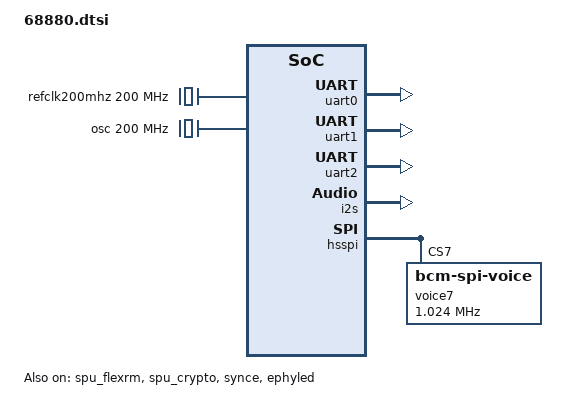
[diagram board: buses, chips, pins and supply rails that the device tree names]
/dts-v1/;

#include "linux_autoconf.h"

#include <dt-bindings/interrupt-controller/arm-gic.h>
#include <dt-bindings/interrupt-controller/irq.h>

#include "../../boot_rsvdmem.dtsi"
#include "../../bcm_thermal.dtsi"

/ {
	#define MODEL "Broadcom BCM968880"
	#define COMPATIBLE "brcm,bcm968880"
	
	/* memory reservations */
    #include "../../bcm_rsvdmem.dtsi"

	aliases {
		serial0 = &uart0;
        serial1 = &uart1;
        serial2 = &uart2;
		spi1        = &hsspi; /* 0 = legacy, 1 = high speed */
		hs_serial0	= &hs_uart0;
	};

	chosen {
		stdout-path = "serial0:115200n8";
		bootargs = "coherent_pool=4M cpuidle_sysfs_switch console=ttyS0,115200  pci=pcie_bus_safe";
	};

	/* memc */
    memory_controller {
        #include "../../ip/memc.dtsi"
    };
    
    /* wan type auto detect */
    wantype_detect {
        #define GPON_GENERAL_CONFIG_ADDR    0x0 0x80129000
        #define GPON_GENERAL_CONFIG_SIZE    0x0 0x10
        #define EPON_TOP_ADDR               0x0 0x80100000
        #define EPON_TOP_SIZE               0x0 0x1C
        #define EPON_LIF_ADDR               0x0 0x80101800
        #define EPON_LIF_SIZE               0x0 0x110
        #define EPON_XPCSR_ADDR             0x0 0x80103000
        #define EPON_XPCSR_SIZE             0x0 0x124
        #define NGPON_RXGEN_ADDR            0x0 0x8015C000
        #define NGPON_RXGEN_SIZE            0x0 0x80
        #include "../../ip/bcm_wantype_detect.dtsi"
    };

    dying_gasp: dying_gasp {
	#define DG_PERIPH_REG_OFFSET	0x0 0xFF85A004
	#define DG_PERIPH_REG_SIZE	0x0 0x4
	#define DG_UART_DR_OFFSET	0x0 0x8421C000
	#define DG_UART_DR_SIZE		0x0 0x4
	#include "../../ip/bcm_dgasp_periph.dtsi"
	interrupts = <GIC_SPI 28 IRQ_TYPE_LEVEL_HIGH>;
    };

    cpufreq: cpufreq {
        #define OP_MODE "dvfs"
        #include "../../ip/bcm_cpufreq.dtsi"
    };

    /* pcie common */
    pcie: pcie {
        compatible = "brcm,bcm-pcie";
        device_type = "cpci";
        brcm,pllclkid = <0x3210>;
    };

    /* pcie core 0 */
    pcie0: pcie@0 {
        #define PCIE_ID         0
        #define PCIE_SPI        79
        #define PCIE_ADDR       0x80080000
        #define PCIE_SIZE       0x0000A000
        #define PCIE_RANGE_ADDR 0xC0000000
        #define PCIE_RANGE_SIZE 0x10000000
        #include "../../ip/bcm_pcie_core.dtsi"
    };

    /* pcie core 1 */
    pcie1: pcie@1 {
        #define PCIE_ID         1
        #define PCIE_SPI        80
        #define PCIE_ADDR       0x80090000
        #define PCIE_SIZE       0x0000A000
        #define PCIE_RANGE_ADDR 0xD0000000
        #define PCIE_RANGE_SIZE 0x10000000
        #include "../../ip/bcm_pcie_core.dtsi"
    };

    otp: otp {
        compatible = "brcm,otp";
    };

    /* pcie core 2 */
    pcie2: pcie@2 {
        #define PCIE_ID         2
        #define PCIE_SPI        81
        #define PCIE_ADDR       0x800A0000
        #define PCIE_SIZE       0x0000A000
        #define PCIE_RANGE_ADDR 0xE0000000
        #define PCIE_RANGE_SIZE 0x10000000
        #include "../../ip/bcm_pcie_core.dtsi"
    };

    /* pcie core 4 */
    pcie3: pcie@3 {
        #define PCIE_ID         3
        #define PCIE_SPI        82
        #define PCIE_ADDR       0x800B0000
        #define PCIE_SIZE       0x0000B000
        #define PCIE_RANGE_ADDR 0xA0000000
        #define PCIE_RANGE_SIZE 0x20000000
        #include "../../ip/bcm_pcie_core.dtsi"
    };

    /* boot state */
    boot_state: boot_state {
        #define RESET_REASON_OFFSET                 0x0 0xFF802628
        #define RESET_REASON_SIZE                   0x0 0x4
        #define RESET_STATUS_OFFSET                 0x0 0x842100C0
        #define RESET_STATUS_SIZE                   0x0 0x4
        #include "../../ip/bcm_boot_state_v2.dtsi"
    };

	/* clocks */
	#define PERIPH_CLK		200000000 
	#define HS_SPI_PLL_CLK	200000000 
	#include "../../ip/bcm_clocks.dtsi"

    #define UARTA_SPI       31
    #define UARTA_FUNC      32
    #define UARTB_FUNC      202
    uart_clk: uart_clk {
        compatible = "fixed-clock";
        #clock-cells = <0>;
        clock-frequency = <81000000>;
        u-boot,dm-pre-reloc;
    };

    refclk200mhz: refclk200mhz {
        compatible = "fixed-clock";
        #clock-cells = <0>;
        clock-frequency = <200000000>;
    };

    uart0: serial@8421C000 {
        compatible = "ns16550a";
        reg = <0x0 0x8421C000 0x0 0x20>;
        reg-io-width = <0x4>;
        reg-shift = <0x2>;
        interrupts = <GIC_SPI UARTA_SPI IRQ_TYPE_LEVEL_HIGH>;
        clocks = <&uart_clk>;
        u-boot,dm-pre-reloc;
    };

    uart1: serial@0x84219000{
        compatible = "ns16550a";
        reg = <0x0 0x84219000 0x0 0x20>;
        reg-io-width = <0x4>;
        reg-shift = <0x2>;
        interrupts = <GIC_SPI UARTA_FUNC IRQ_TYPE_LEVEL_HIGH>;
        clocks = <&refclk200mhz>;
        u-boot,dm-pre-reloc;
    };

    uart2: serial@0x84219600{
        compatible = "ns16550a";
        reg = <0x0 0x84219600 0x0 0x20>;
        reg-io-width = <0x4>;
        reg-shift = <0x2>;
        interrupts = <GIC_SPI UARTB_FUNC IRQ_TYPE_LEVEL_HIGH>;
        clocks = <&refclk200mhz>;
        u-boot,dm-pre-reloc;
    };

    /* usb */
    usb_ctrl: usb_ctrl {
        #define USB_CTRL_ADDR   0x0 0x800CF200
        #define USB_CTRL_SIZE   0x0 0x200
        #include "../../ip/bcm_usb_ctrl.dtsi"
    };

    usb0_xhci: usb0_xhci {
        #define USB_ADDR    0x0 0x800C0000
        #define USB_SIZE    0x0 0x4a4
        #define GBL_ADDR    0x0 0x800CC100
        #define GBL_SIZE    0x0 0x548
        #define USB_IRQ     84
        #include "../../ip/bcm_usb_xhci.dtsi"
        xhci-no-companion;
    };

    /* watchdog */
    wdt: watchdog  {
    	compatible = "brcm,bcm3390-wdt";
    	reg = <0x0 0x84213700 0x0 0x40>;
    	interrupts = <GIC_SPI 203 IRQ_TYPE_LEVEL_HIGH>;
    	interrupt-names = "wd_timeout";
    };

    /* watchdog reboot */
    wdt-reboot {
        compatible	= "wdt-reboot";
        wdt			= <&wdt>;
    };

        /* spu */
    #define SPU_DMA_ADDR        0x00000000 0x83800000
    #define SPU_DMA_SIZE        0x00000000 0x400000
    #define SPU_DMA_NUM_CHAN    4
    #define SPU_DMA_NUM_AE      2
    #define SPU_CRYPTO_ADDR     0x00000000 0x83800000
    #define SPU_CRYPTO_SIZE     0x00000000 0x400000
    #define SPU_GMAC_SPI        67
    #include "../../ip/bcm_spu.dtsi"

    gpon_drv {
        compatible = "brcm,gpon-drv";
        reg = <0x0 0x80128000 0x0 0x1c00>;
        interrupts = <GIC_SPI 173  IRQ_TYPE_LEVEL_HIGH>, /* INTERRUPT_WAN_GPON_RX */
                     <GIC_SPI 172  IRQ_TYPE_LEVEL_HIGH>; /* INTERRUPT_WAN_GPON_TX */
        interrupt-names = "gpon_rx", "gpon_tx";
    };

    ngpon_drv {
        compatible = "brcm,ngpon-drv";
        reg = <0x0 0x8015c000 0x0 0x9080>;
        enforce-long-preamble;
        interrupts = <GIC_SPI 161  IRQ_TYPE_LEVEL_HIGH>, /* INTERRUPT_WAN_XGRX */
                     <GIC_SPI 165  IRQ_TYPE_LEVEL_HIGH>, /* INTERRUPT_WAN_XGTX_INTR0 */
                     <GIC_SPI 164  IRQ_TYPE_LEVEL_HIGH>, /* INTERRUPT_WAN_XGTX_INTR1 */
                     <GIC_SPI 163  IRQ_TYPE_LEVEL_HIGH>; /* INTERRUPT_WAN_XGTX_INTR2 */
        interrupt-names = "ngpon_rx", "ngpon_tx0", "ngpon_tx1", "ngpon_tx2";
    };

    wan_serdes {
        compatible = "brcm,pon-drv";
        status = "disabled";
        reg = <0x0 0x80104000 0x0 0x1cc00>;
    };

    synce {
        compatible = "brcm,synce_holdover";
        status = "okay";
        reg = <0x0 0x80104000 0x0 0x1d000>;
    };

    epon_drv {
        compatible = "brcm,epon-drv";
        reg = <0x0 0x80100000 0x0 0x4000>;
    };

    /* xrdp,wan_bbh */
    rdpa_drv {
        compatible = "brcm,rdpa";
        reg = <0x0 0x82000000 0x0 0xE60000>,
              <0x0 0x80170000 0x0 0x12400>;
        interrupts = <GIC_SPI 128 IRQ_TYPE_LEVEL_HIGH>, /* INTERRUPT_XRDP_FPM/INTERRUPT_XRDP_QUEUE_32 */
                     <GIC_SPI 96  IRQ_TYPE_LEVEL_HIGH>, /* INTERRUPT_XRDP_QUEUE_0 */
                     <GIC_SPI 97  IRQ_TYPE_LEVEL_HIGH>, /* INTERRUPT_XRDP_QUEUE_1 */
                     <GIC_SPI 98  IRQ_TYPE_LEVEL_HIGH>, /* INTERRUPT_XRDP_QUEUE_2 */
                     <GIC_SPI 99  IRQ_TYPE_LEVEL_HIGH>, /* INTERRUPT_XRDP_QUEUE_3 */
                     <GIC_SPI 100 IRQ_TYPE_LEVEL_HIGH>, /* INTERRUPT_XRDP_QUEUE_4 */
                     <GIC_SPI 101 IRQ_TYPE_LEVEL_HIGH>, /* INTERRUPT_XRDP_QUEUE_5 */
                     <GIC_SPI 102 IRQ_TYPE_LEVEL_HIGH>, /* INTERRUPT_XRDP_QUEUE_6 */
                     <GIC_SPI 103 IRQ_TYPE_LEVEL_HIGH>, /* INTERRUPT_XRDP_QUEUE_7 */
                     <GIC_SPI 104 IRQ_TYPE_LEVEL_HIGH>, /* INTERRUPT_XRDP_QUEUE_8 */
                     <GIC_SPI 105 IRQ_TYPE_LEVEL_HIGH>, /* INTERRUPT_XRDP_QUEUE_9 */
                     <GIC_SPI 106 IRQ_TYPE_LEVEL_HIGH>, /* INTERRUPT_XRDP_QUEUE_10 */
                     <GIC_SPI 107 IRQ_TYPE_LEVEL_HIGH>, /* INTERRUPT_XRDP_QUEUE_11 */
                     <GIC_SPI 108 IRQ_TYPE_LEVEL_HIGH>, /* INTERRUPT_XRDP_QUEUE_12 */
                     <GIC_SPI 109 IRQ_TYPE_LEVEL_HIGH>, /* INTERRUPT_XRDP_QUEUE_13 */
                     <GIC_SPI 110 IRQ_TYPE_LEVEL_HIGH>, /* INTERRUPT_XRDP_QUEUE_14 */
                     <GIC_SPI 111 IRQ_TYPE_LEVEL_HIGH>, /* INTERRUPT_XRDP_QUEUE_15 */
                     <GIC_SPI 112 IRQ_TYPE_LEVEL_HIGH>, /* INTERRUPT_XRDP_QUEUE_16 */
                     <GIC_SPI 113 IRQ_TYPE_LEVEL_HIGH>, /* INTERRUPT_XRDP_QUEUE_17 */
                     <GIC_SPI 114 IRQ_TYPE_LEVEL_HIGH>, /* INTERRUPT_XRDP_QUEUE_18 */
                     <GIC_SPI 115 IRQ_TYPE_LEVEL_HIGH>, /* INTERRUPT_XRDP_QUEUE_19 */
                     <GIC_SPI 116 IRQ_TYPE_LEVEL_HIGH>, /* INTERRUPT_XRDP_QUEUE_20 */
                     <GIC_SPI 117 IRQ_TYPE_LEVEL_HIGH>, /* INTERRUPT_XRDP_QUEUE_21 */
                     <GIC_SPI 118 IRQ_TYPE_LEVEL_HIGH>, /* INTERRUPT_XRDP_QUEUE_22 */
                     <GIC_SPI 119 IRQ_TYPE_LEVEL_HIGH>, /* INTERRUPT_XRDP_QUEUE_23 */
                     <GIC_SPI 120 IRQ_TYPE_LEVEL_HIGH>, /* INTERRUPT_XRDP_QUEUE_24 */
                     <GIC_SPI 121 IRQ_TYPE_LEVEL_HIGH>, /* INTERRUPT_XRDP_QUEUE_25 */
                     <GIC_SPI 122 IRQ_TYPE_LEVEL_HIGH>, /* INTERRUPT_XRDP_QUEUE_26 */
                     <GIC_SPI 123 IRQ_TYPE_LEVEL_HIGH>, /* INTERRUPT_XRDP_QUEUE_27 */
                     <GIC_SPI 124 IRQ_TYPE_LEVEL_HIGH>, /* INTERRUPT_XRDP_QUEUE_28 */
                     <GIC_SPI 125 IRQ_TYPE_LEVEL_HIGH>, /* INTERRUPT_XRDP_QUEUE_29 */
                     <GIC_SPI 126 IRQ_TYPE_LEVEL_HIGH>, /* INTERRUPT_XRDP_QUEUE_30 */
                     <GIC_SPI 127 IRQ_TYPE_LEVEL_HIGH>; /* INTERRUPT_XRDP_QUEUE_31 */
        interrupt-names = "fpm", "queue0", "queue1", "queue2", "queue3", "queue4", "queue5",
                          "queue6", "queue7", "queue8", "queue9", "queue10", "queue11", 
                          "queue12", "queue13", "queue14", "queue15", "queue16", "queue17",
                          "queue18", "queue19", "queue20", "queue21", "queue22", "queue23",
                          "queue24", "queue25", "queue26", "queue27", "queue28", "queue29",
                          "queue30", "queue31";
    };

    rng: rng {
        #define RNG200_OFFSET			0x0 0x84120450
        #define RNG200_SIZE			0x0 0x28
        #include "../../ip/bcm_rng200.dtsi"
    };

	periph {
		compatible = "simple-bus";
		#address-cells = <2>;
		#size-cells = <2>;
		ranges = <0x0 0x0 0x0 0xff800000 0x0 0x100000>;

		/* UART */
		hs_uart0: hs_serial0 {
			#define UART_OFFSET			0x0 0x10400
			#define UART_SIZE			0x0 0x1E0 
			#define UART_SPI			34  
			#include "../../ip/bcm_hs_uart.dtsi"
		};


		/* i2c */
		i2c0: i2c0 {
			#define I2C_OFFSET			0x0 0x2100
			#define I2C_SIZE			0x0 0x60
			#include "../../ip/bcm_i2c_bus.dtsi"
		};

		i2c1: i2c1 {
			#define I2C_OFFSET			0x0 0x5a800
			#define I2C_SIZE			0x0 0x60
			#include "../../ip/bcm_i2c_bus.dtsi"
		};

		i2s: bcm63xx-i2s {
			compatible		= "brcm,bcm63xx-i2s";
			reg				= <0x0 0x2080 0x0 0x80>;
			interrupts		= <GIC_SPI 44 IRQ_TYPE_LEVEL_HIGH>; 
			clocks			= <&i2sclk>, <&osc>;
			clock-names		= "i2sclk","i2sosc";
		};

		bcm63xx-apm-pcm {
			compatible = "brcm,bcm63xx-apm-pcm";
			reg = <0x0 0x60000 0x0 0x1c60>;
			interrupts = <GIC_SPI 41 IRQ_TYPE_LEVEL_HIGH>;
		};

		/* periph timers */
		timers: timers {
			#define TIMERS_OFFSET		0x0 0x400
			#define TIMERS__SIZE		0x0 0x48
			#define TIMER0_SPI			11
			#define TIMER1_SPI			12
			#define TIMER2_SPI			13
			#define TIMER3_SPI			14
			#define TIMER4_SPI			15
			#define TIMER5_SPI			16
			#include "../../ip/bcm_timer.dtsi"
		};

		pincontroller: pinctrl {
			#define PINCTRL_OFFSET		0x0 0x554
			#define PINCTRL_SIZE		0x0 0xc
			#define PINCTRL_NUM_PINS	107
			#define PINCTRL_NUM_FUNC	7
			#define PINCTRL_GPIO_FUNC	4
			#include "../../ip/bcm_bca_pinctrl.dtsi"
			#include "68880_pinctrl.dtsi"
		};

		/* gpio */
		gpioc: gpioc {
			#define GPIO_DIR_OFFSET		0x0 0x500  
			#define GPIO_DIR_SIZE		0x0 0x20
			#define GPIO_DATA_OFFSET	0x0 0x520
			#define GPIO_DATA_SIZE		0x0 0x20
			#define NUM_OF_GPIOS		98
			#include "../../ip/bcm_bca_gpio.dtsi"
		};

		/* external interrups */
		bca_extintr: bca_extintr0 {
			#define EXTINTR_OFFSET		0x0 0x4
			#define EXTINTR_SIZE		0x0 0x48
			#define INTSET0_OFFSET		0x0 0x100
			#define INTSET0_SIZE		0x0 0x90
			#define INTSET1_OFFSET		0x0 0x200
			#define INTSET1_SIZE		0x0 0x90
			#define MAX_EXT_INTR		8
			#include "../../ip/bcm_bca_extintr.dtsi"
			external_interrupts = <47 48 49 50 51 52 53 54>;
		};

		/* HS SPI */
		hsspi: spi {
			pinctrl-0 = <&a_spim1_group_pins>;
			pinctrl-names = "default";
			#define HS_SPI_OFFSET		0x0 0x1000
			#define HS_SPI_SIZE			0x0 0x600
			#define HS_SPI_MAX_FREQ		50000000
			#define SPIM_CTRL_OFFSET	0x0 0x2610
			#define SPIM_CTRL_SIZE		0x0 0x4
			/* #define HS_SPIM_SPI			36 */
			#include "../../ip/bcm_bca_hsspi.dtsi"

			voice7 {
				pinctrl-0 = <&b_pcm_clk_pin_20 &b_pcm_fs_pin_21 &b_pcm_sdin_pin_18 &b_pcm_sdout_pin_19>;
				pinctrl-names = "default";
				compatible    = "bcm-spi-voice";
				reg = <7>; 
				spi-index     = <7>;
				spi-max-frequency = <1024000>;
			};

		};
        /* Led Controller */
        led_ctrl: led_ctrl {
            #define CLED_GLBL_CTRL_OFFSET           0x0 0x3000
            #define CLED_GLBL_CTRL_SIZE             0x0 0x4
            #define CLED_HW_EN_OFFSET               0x0 0x3004
            #define CLED_HW_EN_SIZE                 0x0 0x4
            #define CLED_SER_SHIFT_OFFSET           0x0 0x3008
            #define CLED_SER_SHIFT_SIZE             0x0 0x4
            #define CLED_HW_POLARITY_OFFSET         0x0 0x300c
            #define CLED_HW_POLARITY_SIZE           0x0 0x4
            #define CLED_SW_SET_OFFSET              0x0 0x3010
            #define CLED_SW_SET_SIZE                0x0 0x4
            #define CLED_SW_POLARITY_OFFSET         0x0 0x3014
            #define CLED_SW_POLARITY_SIZE           0x0 0x4
            #define CLED_CH_ACTIVATE_OFFSET         0x0 0x301c
            #define CLED_CH_ACTIVATE_SIZE           0x0 0x4
            #define CLED_XX_CONFIG_OFFSET           0x0 0x3020
            #define CLED_XX_CONFIG_SIZE             0x0 0x200
            #define CLED_SW_CLEAR_OFFSET            0x0 0x3444
            #define CLED_SW_CLEAR_SIZE              0x0 0x4
            #define CLED_SW_STATUS_OFFSET           0x0 0x3448
            #define CLED_SW_STATUS_SIZE             0x0 0x4
            #define CLED_OUT_MUX_OFFSET             0x0 0x3460
            #define CLED_OUT_MUX_SIZE               0x0 0x20
            #define CLED_SERIAL_POLARITY_OFFSET     0x0 0x3454
            #define CLED_SERIAL_POLARITY_SIZE       0x0 0x4
            #define CLED_PARALLEL_POLARITY_OFFSET   0x0 0x3018
            #define CLED_PARALLEL_POLARITY_SIZE     0x0 0x4
            #define MAX_SUPPORTED_LEDS              64

            #include "../../ip/bcm_cled_v2_ctrl.dtsi"
            #include "68880_leds.dtsi"
        };
	};

    legacy_leds: legacy_leds {
        compatible = "brcm,legacy-led";
    };

    ephyled {
        compatible = "brcm,ephy-led";
        led_reg_max = <16>;
        reg-names = "aggregate_ctrl", "led_reg_0", "led_reg_1", "led_reg_2",\
                    "led_reg_3", "led_reg_4","led_reg_5", "led_reg_6",\
                    "led_reg_7", "led_reg_8", "led_reg_9", "led_reg_10",\
                    "led_reg_11", "led_reg_12", "led_reg_13", "led_reg_14",\
                    "led_reg_15";
        reg = <0 0x837FF1DC 0 0x4>, <0 0x837FF108 0 0xc>, <0 0x837FF114 0 0xc>, <0 0x837FF120 0 0xc>,\
              <0 0x837FF12C 0 0xc>, <0 0x837FF138 0 0xc>, <0 0x837FF144 0 0xc>, <0 0x837FF150 0 0xc>,\
              <0 0x837FF15C 0 0xc>, <0 0x837FF168 0 0xc>, <0 0x837FF174 0 0xc>, <0 0x837FF180 0 0xc>,\
              <0 0x837FF18C 0 0xc>, <0 0x837FF198 0 0xc>, <0 0x837FF1A4 0 0xc>, <0 0x837FF1B0 0 0xc>,\
              <0 0x837FF1BC 0 0xc>;
        status = "okay";
	};
};

#ifdef CONFIG_BCM_PMC_AUX
/ {
    #include "68880_aux.dtsi"
};
#endif

#ifndef CONFIG_BRCM_SMC_BOOT
/ {
    #include "bcm_68880_no_smc_boot.dtsi"
};
#endif

&clocks {
	i2s_clkmclk_syscon: i2s_clkmclk_syscon{
		compatible			= "brcm,i2s-audio-clkmclk-syscon", "syscon";
		reg					= <0x0 0xFF802080 0x0 0x4>;
	};
	osc: oscillator {
		#clock-cells		= <0>;
		compatible			= "fixed-clock";
		clock-frequency		= <200000000>; 
	};

	i2sclk: i2sclk {
		#clock-cells		= <0>;
		compatible			= "brcm,i2s-clock";
		clocks				= <&osc>;
		clk-mclk-syscon		= <&i2s_clkmclk_syscon>;
		clock-output-names	= "i2s_clk";
	};

};

/ {
	 /* arch */
	#define PMU_CORE0_SPI	9
	#define PMU_CORE1_SPI	10
	#define PMU_CORE2_SPI	11
	#define PMU_CORE3_SPI	12

        #include "../../ip/bcm_b55_quad.dtsi"
};

/* networking */
/ {
    xport:xport {
        compatible = "brcm,xport";
        reg = <0x0 0x837f0000 0x0 0xc000>,
              <0x0 0x828b2000 0x0 0x1800>;
        interrupts = <GIC_SPI 71 IRQ_TYPE_LEVEL_HIGH>,
                     <GIC_SPI 72 IRQ_TYPE_LEVEL_HIGH>,
                     <GIC_SPI 73 IRQ_TYPE_LEVEL_HIGH>;
        status = "disabled";
    };

    ethphytop:ethphytop {
        compatible = "brcm,eth-phy-top";
        reg = <0x0 0x837ff000 0x0 0x1000>;
        xphy0-addr = <0x2>;
        xphy1-addr = <0x3>;
        status = "disabled";
    };

    egphy:egphy {
        compatible = "brcm,egphy";
        reg = <0x0 0x837ff010 0x0 0x0c>;
        base-addr = <0x8>;
        status = "disabled";
    };

    unimac:unimac {
        compatible = "brcm,unimac3";
        reg = <0x0 0x828a8000 0x0 0x5000>,
              <0x0 0x828b0000 0x0 0x1400>;
        conf_offset = <0x1000>;
        mib_offset = <0x400>;
        top_offset = <0x400>;
        status = "disabled";
    };

    serdes:serdes {
        compatible = "brcm,serdes1";
        reg = <0x0 0x837ff500 0x0 0x200>;
        status = "disabled";
    };

    mdio:mdio {
        compatible = "brcm,mdio1";
        reg = <0x0 0x837ffd00 0x0 0x10>;
        status = "disabled";
    };

    mpcs:mpcs{
        compatible = "brcm,mpcs";
        reg = <0x0 0x80104000 0x0 0x100
               0x0 0x80100000 0x0 0x10>;
        status = "disabled";
    };

    mdio_bus: mdio_bus {
        compatible = "simple-bus";
        bus-type = "MDIO_V1";
        #address-cells = <1>;
        #size-cells = <0>;

        egphy0:egphy0 {
            compatible = "brcm,bcaphy";
            phy-type = "EGPHY";
            reg = <0x8>;
            status = "disabled";
        };

        egphy1:egphy1 {
            compatible = "brcm,bcaphy";
            phy-type = "EGPHY";
            reg = <0x9>;
            status = "disabled";
        };

        egphy2:egphy2 {
            compatible = "brcm,bcaphy";
            phy-type = "EGPHY";
            reg = <0xa>;
            status = "disabled";
        };

        egphy3:egphy3 {
            compatible = "brcm,bcaphy";
            phy-type = "EGPHY";
            reg = <0xb>;
            status = "disabled";
        };

        xphy0:xphy0 {
            compatible = "brcm,bcaphy";
            phy-type = "EXT3";
            reg = <0x2>;
            caps-no-hdx;
            status = "disabled";
        };

        xphy1:xphy1 {
            compatible = "brcm,bcaphy";
            phy-type = "EXT3";
            reg = <0x3>;
            caps-no-hdx;
            status = "disabled";
        };

        serdes00_xphy:serdes00_xphy {
            compatible = "brcm,bcaphy";
            phy-type = "EXT3";
            reg = <0x4>;
            caps-no-hdx;
            status = "disabled";
        };

        serdes01_xphy:serdes01_xphy {
            compatible = "brcm,bcaphy";
            phy-type = "EXT3";
            reg = <0x5>;
            caps-no-hdx;
            status = "disabled";
        };

        serdes02_xphy:serdes02_xphy {
            compatible = "brcm,bcaphy";
            phy-type = "EXT3";
            reg = <0x6>;
            caps-no-hdx;
            status = "disabled";
        };

        serdes03_xphy:serdes03_xphy {
            compatible = "brcm,bcaphy";
            phy-type = "EXT3";
            reg = <0x7>;
            caps-no-hdx;
            status = "disabled";
        };

        serdes10_xphy:serdes10_xphy {
            compatible = "brcm,bcaphy";
            phy-type = "EXT3";
            reg = <0xc>;
            caps-no-hdx;
            status = "disabled";
        };

        serdes11_xphy:serdes11_xphy {
            compatible = "brcm,bcaphy";
            phy-type = "EXT3";
            reg = <0xd>;
            caps-no-hdx;
            status = "disabled";
        };

        serdes12_xphy:serdes12_xphy {
            compatible = "brcm,bcaphy";
            phy-type = "EXT3";
            reg = <0xe>;
            caps-no-hdx;
            status = "disabled";
        };

        serdes13_xphy:serdes13_xphy {
            compatible = "brcm,bcaphy";
            phy-type = "EXT3";
            reg = <0xf>;
            caps-no-hdx;
            status = "disabled";
        };

        serdes00:serdes00 {
             compatible = "brcm,bcaphy";
             phy-type = "SHORTFIN";
             reg = <0x10>;
             serdes-core = <0>;
             serdes-lane = <0>;
             status = "disabled";
        };

        serdes01:serdes01 {
             compatible = "brcm,bcaphy";
             phy-type = "SHORTFIN";
             reg = <0x11>;
             serdes-core = <0>;
             serdes-lane = <1>;
             status = "disabled";
        };

        serdes02:serdes02 {
             compatible = "brcm,bcaphy";
             phy-type = "SHORTFIN";
             reg = <0x12>;
             serdes-core = <0>;
             serdes-lane = <2>;
             status = "disabled";
        };

        serdes03:serdes03 {
             compatible = "brcm,bcaphy";
             phy-type = "SHORTFIN";
             reg = <0x13>;
             serdes-core = <0>;
             serdes-lane = <3>;
             status = "disabled";
        };

        serdes10:serdes10 {
             compatible = "brcm,bcaphy";
             phy-type = "SHASTA";
             reg = <0x14>;
             serdes-core = <1>;
             serdes-lane = <0>;
             status = "disabled";
        };

        serdes11:serdes11 {
            compatible = "brcm,bcaphy";
            phy-type = "SHASTA";
            reg = <0x15>;
            serdes-core = <1>;
            serdes-lane = <1>;
            status = "disabled";
        };

        serdes12:serdes12 {
            compatible = "brcm,bcaphy";
            phy-type = "SHASTA";
            reg = <0x16>;
            serdes-core = <1>;
            serdes-lane = <2>;
            status = "disabled";
        };

        serdes13:serdes13 {
            compatible = "brcm,bcaphy";
            phy-type = "SHASTA";
            reg = <0x17>;
            serdes-core = <1>;
            serdes-lane = <3>;
            status = "disabled";
        };

        wan_xphy:wan_xphy {
             compatible = "brcm,bcaphy";
             phy-type = "EXT3";
             reg = <0x1b>;
             caps-no-hdx;
             status = "disabled";
        };

        wan_ae:wan_ae {
             compatible = "brcm,bcaphy";
             phy-type = "AE";
             reg = <0x20>;
             status = "disabled";
        };
    };

    wan_serdes_bus {
        compatible = "simple-bus";

        #address-cells = <1>;
        #size-cells = <0>;

        phy_wan_serdes: phy_wan_serdes {
            compatible = "brcm,bcaphy";
            phy-type = "PON";
            reg = <0>;
            status = "disabled";
        };
    };

    switch0:switch0 {
        compatible = "brcm,enet";
        label = "bcmsw";
        sw-type = "RUNNER_SW";
        bandwidth = <42000>;

        ports {
            #address-cells = <1>;
            #size-cells = <0>;

            port_gphy0 {
                reg = <0>;
                mac-type = "UNIMAC";
                phy-handle = <&egphy0>;
                phy-mode = "gmii";
                status = "disabled";
            };

            port_gphy1 {
                reg = <1>;
                mac-type = "UNIMAC";
                phy-handle = <&egphy1>;
                phy-mode = "gmii";
                status = "disabled";
            };

            port_gphy2 {
                reg = <2>;
                mac-type = "UNIMAC";
                phy-handle = <&egphy2>;
                phy-mode = "gmii";
                status = "disabled";
            };

            port_gphy3 {
                reg = <3>;
                mac-type = "UNIMAC";
                phy-handle = <&egphy3>;
                phy-mode = "gmii";
                status = "disabled";
            };

            port_xgphy0 {
                reg = <5>;
                mac-type = "XPORT";
                mac-index = <0>;
                phy-handle = <&xphy0>;
                phy-mode = "xfi";
                status = "disabled";
            };

            port_wan@ae {
                reg = <6>;
                mac-type = "XPORT";
                mac-index = <1>;
                phy-handle = <&wan_ae>;
                phy-mode = "xfi";
                detect;
                is-wanconf-ae;
                status = "disabled";
            };

            port_xgphy1 {
                reg = <7>;
                mac-type = "XPORT";
                mac-index = <2>;
                phy-handle = <&xphy1>;
                phy-mode = "xfi";
                status = "disabled";
            };

            port_slan0 {
                reg = <8>;
                mac-type = "XPORT";
                mac-index = <4>;
                phy-handle = <&serdes00>;
                phy-mode = "xfi";
                status = "disabled";
            };

            port_slan1 {
                reg = <9>;
                mac-type = "XPORT";
                mac-index = <5>;
                phy-handle = <&serdes01>;
                phy-mode = "xfi";
                status = "disabled";
            };

            port_slan2 {
                reg = <10>;
                mac-type = "XPORT";
                mac-index = <6>;
                phy-handle = <&serdes02>;
                phy-mode = "xfi";
                status = "disabled";
            };

            port_slan3 {
                reg = <11>;
                mac-type = "XPORT";
                mac-index = <7>;
                phy-handle = <&serdes03>;
                phy-mode = "xfi";
                status = "disabled";
            };

            port_qlan0 {
                reg = <12>;
                mac-type = "XPORT";
                mac-index = <8>;
                phy-handle = <&serdes10>;
                phy-mode = "xfi";
                status = "disabled";
            };

            port_qlan1 {
                reg = <13>;
                mac-type = "XPORT";
                mac-index = <9>;
                phy-handle = <&serdes11>;
                phy-mode = "xfi";
                status = "disabled";
            };

            port_qlan2 {
                reg = <14>;
                mac-type = "XPORT";
                mac-index = <10>;
                phy-handle = <&serdes12>;
                phy-mode = "xfi";
                status = "disabled";
            };

            port_qlan3 {
                reg = <15>;
                mac-type = "XPORT";
                mac-index = <11>;
                phy-handle = <&serdes13>;
                phy-mode = "xfi";
                status = "disabled";
            };

            port_wan@fiber {
                reg = <16>;
                phy-handle = <&phy_wan_serdes>;
                phy-mode = "serdes";
                detect;
                is-wanconf-mux-pon;
                is-wan;
                status = "disabled";
            };
        };
    };
    
    flash {
        compatible = "brcm,vflash", "simple-bus";
        u-boot,dm-pre-reloc;
    };
    
    dqm {
        #define SMC_REG_BASE 0x0 0x84100000
        #define SMC_ARM_IRQ 208
        #include "../../ip/bcm_dqm.dtsi"
    };


    rpc {
        #include "../../ip/bcm_rpc.dtsi"
    };
    
    rpcsmcramlog {
        compatible = "brcm,smcramlog-rpc";
        rpc-channel = <&rpcrgsmc>;
        dummy-channel = <&rpcvflashsmc &rpcavssmc>;
    };
    
    misc_io {
        compatible = "brcm,misc-io";
        misc-periph-chip-id-rev     = <0x0 0x84210000 0x0 0x4>;
        misc-periph-chip-id-mask    = <0x0fffff00>;
        misc-periph-chip-id-shift   = <8>;
        misc-periph-chip-rev-mask   = <0xff>;
    };

};

&spu_flexrm {
    status = "okay";
    dma-coherent;
};

&spu_crypto {
    brcm,spu_type = <2>;
    dma-coherent;
    status = "okay";
};
